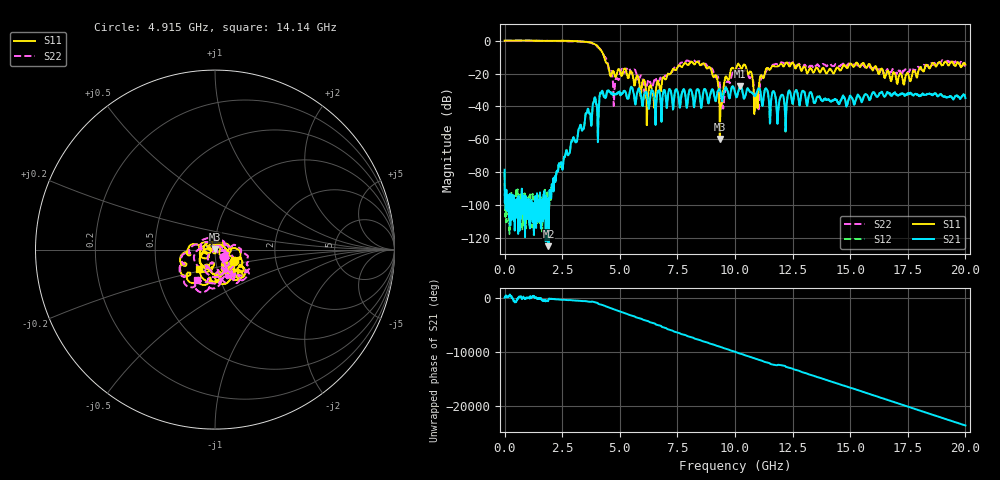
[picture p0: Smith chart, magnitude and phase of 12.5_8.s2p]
#  HZ  S  RI  R  50.00
! Rohde & Schwarz Vector Network Analyzer
! Rohde-Schwarz,ZNB20-2Port,1311601062102128,3.60
! Created: UTC 4/29/2024, 2:57:01 PM
! freq[Hz]  re:S11  im:S11  re:S21  im:S21  re:S12  im:S12  re:S22  im:S22
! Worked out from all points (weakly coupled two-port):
!   2007 points, 100 kHz to 20 GHz, reference 50 ohm
!   highest |S21| = -27.66 dB at 10.23 GHz (marker M1); lowest = -124.9 dB at 1.904 GHz (marker M2)
!   lowest |S11| = -59.7 dB at 9.342 GHz (marker M3), VSWR 1.00, Z = 50.1 + j0.0829 ohm
!   |S11| at or under -10 dB: 4.326 GHz to end of sweep
!   |S22| runs from -41.8 to 0.1 dB; largest |S21 - S12| = 0.0022
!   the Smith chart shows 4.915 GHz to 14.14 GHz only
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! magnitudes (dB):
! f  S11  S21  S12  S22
! 100 kHz  0.0  -78.5  -80.2  0.1
! 1.904 GHz  -0.1  -124.9  -97.4  -0.2
! 2.453 GHz  0.0  -73.8  -74.0  -0.3
! 3.34 GHz  -0.6  -53.9  -53.6  -0.6
! 4.158 GHz  -5.5  -31.9  -31.5  -5.2
! 4.776 GHz  -20.7  -32.5  -32.5  -28.8
! 5.354 GHz  -22.8  -35.2  -35.1  -16.3
! 6.211 GHz  -35.1  -35.9  -36.0  -24.9
! 6.67 GHz  -24.8  -30.3  -30.4  -26.5
! 8.375 GHz  -12.8  -29.5  -29.5  -12.9
! 9.173 GHz  -21.2  -36.3  -36.4  -22.4
! 9.342 GHz  -59.7  -30.1  -30.1  -26.8
! 9.482 GHz  -32.2  -34.2  -34.2  -41.0
! 10 GHz  -18.7  -31.5  -31.5  -19.5
! 10.23 GHz  -16.0  -27.7  -27.6  -16.9
! 10.69 GHz  -19.0  -31.4  -31.4  -22.1
! 10.91 GHz  -33.4  -32.6  -32.6  -36.3
! 11.42 GHz  -16.7  -30.9  -30.9  -16.9
! 11.86 GHz  -15.7  -45.7  -45.8  -14.1
! 13.34 GHz  -18.0  -32.7  -32.8  -15.3
! 16.67 GHz  -19.1  -31.7  -31.7  -20.5
! 20 GHz  -14.6  -34.9  -34.9  -14.4
